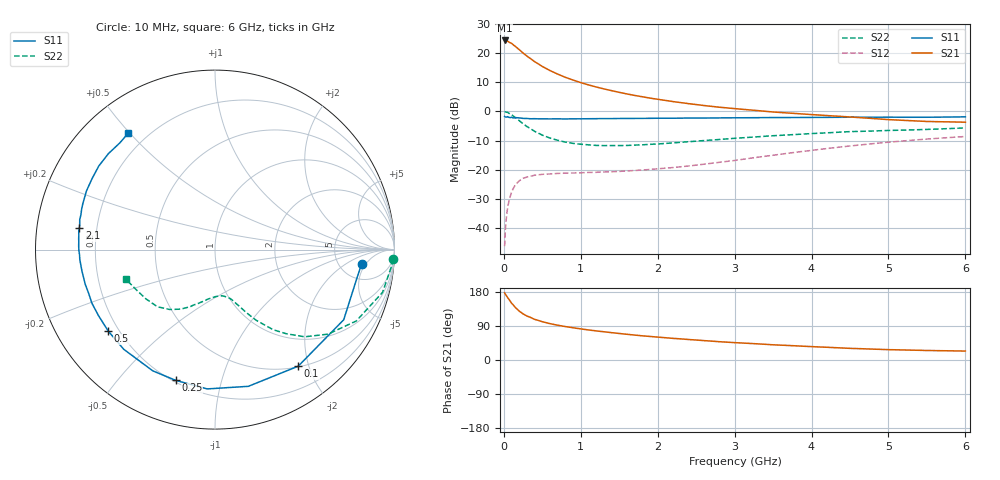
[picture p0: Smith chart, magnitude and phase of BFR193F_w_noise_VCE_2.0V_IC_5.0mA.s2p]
! Infineon Technologies  Discrete & RF Semiconductors
! BFR193F
! VCE =  2.0 V,  IC =  5.0 mA
! Common Emitter S-Parameters:  Jan 2017
# GHz  S  MA  R  50
!  f  S11  S21  S12  S22
! GHz  MAG  ANG  MAG  ANG  MAG  ANG  MAG  ANG
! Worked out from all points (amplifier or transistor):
!   77 points, 10 MHz to 6 GHz, reference 50 ohm
!   highest |S21| = 24.4 dB at 10 MHz (marker M1)
!   |S21| within 3 dB of that: start of sweep to 193.2 MHz
!   unconditionally stable (mu >= 1): 1.794 GHz to 3.109 GHz
!   at 130 MHz: K = 0.11, MSG = 24.4 dB, |S12| = -26.1 dB
!   at 2.2 GHz: K = 1.08, MAG = 9.5 dB, |S12| = -19.2 dB
!   at 6 GHz: K = 0.83, MSG = 2.5 dB, |S12| = -8.6 dB
!   lowest NFmin = 0.81 dB at 450 MHz
!   S11 on the Smith chart (normalised r, x): 10 MHz: 8.22, -3.97; 100 MHz: 0.51, -1.83; 250 MHz: 0.21, -0.72; 500 MHz: 0.16, -0.33; 2.1 GHz: 0.13, +0.08; 6 GHz: 0.13, +0.50
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0.01  0.8208 -5.5  16.52 177.4  0.0049 89.6  0.9913 -3.0
0.02  0.8052 -12.3  16.42 173.6  0.0094 81.8  0.9861 -5.8
0.05  0.8167 -28.6  16.04 164.5  0.0227 76.6  0.9636 -14.3
0.1  0.7981 -54.5  14.75 150.1  0.0413 64.1  0.882 -26.8
0.15  0.7841 -76.3  13.04 138.5  0.0555 54.3  0.7864 -36.8
0.2  0.7774 -93.2  11.5 129.1  0.0646 47.1  0.6969 -44.2
0.25  0.7607 -106.7  10.06 121.7  0.0717 41.5  0.6148 -49.7
0.3  0.7593 -117.2  8.925 116.0  0.0749 37.9  0.5522 -54.0
0.4  0.7529 -132.5  7.154 107.2  0.0807 32.8  0.4566 -59.7
0.5  0.7482 -142.6  5.92 101.0  0.0836 30.1  0.3929 -63.5
0.6  0.7461 -150.3  5.034 95.9  0.0849 29.0  0.3501 -66.3
0.7  0.748 -156.4  4.375 91.8  0.0866 28.3  0.3206 -68.8
0.8  0.7449 -160.8  3.856 88.2  0.0875 28.8  0.2984 -71.0
1  0.7487 -168.1  3.126 82.1  0.0889 30.3  0.2745 -75.2
1.1  0.7509 -171.0  2.859 79.3  0.09 31.5  0.2681 -77.6
1.5  0.7584 -179.7  2.129 70.0  0.0938 38.4  0.2605 -86.8
2.1  0.7658 171.1  1.548 58.8  0.1066 50.0  0.2832 -99.5
2.6  0.7718 165.4  1.266 51.2  0.1246 58.6  0.3171 -107.9
3.1  0.7803 159.9  1.091 44.8  0.151 64.6  0.3536 -114.9
4.1  0.7916 148.9  0.869 34.4  0.2234 68.8  0.424 -128.7
5.1  0.7978 136.7  0.715 26.9  0.3052 65.0  0.4759 -146.3
6  0.8095 126.6  0.655 23.6  0.3724 59.0  0.5236 -161.8
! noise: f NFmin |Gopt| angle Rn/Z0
0.45  0.81  0.31  100  0.1
0.9  1.01  0.45  136  0.09
1.9  1.9  0.63  -179  0.06
2.4  2.34  0.67  -168  0.11
